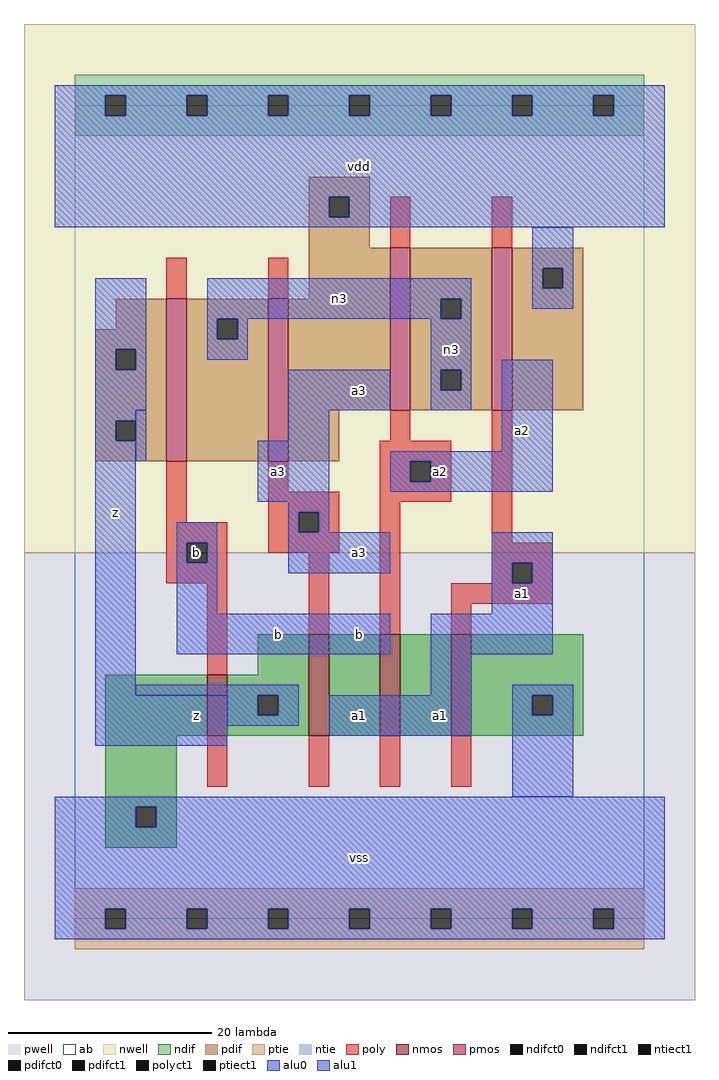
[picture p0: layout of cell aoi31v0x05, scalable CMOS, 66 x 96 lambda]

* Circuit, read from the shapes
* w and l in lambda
.subckt aoi31v0x05 a1 a2 a3 b n3 vdd vss z
M1 z b vss vss nfet w=6 l=2
M2 n1 a3 z vss nfet w=10 l=2
M3 n2 a2 n1 vss nfet w=10 l=2
M4 vss a1 n2 vss nfet w=10 l=2
M5 n3 b z vdd pfet w=16 l=2
M6 vdd a3 n3 vdd pfet w=16 l=2
M7 n3 a2 vdd vdd pfet w=16 l=2
M8 vdd a1 n3 vdd pfet w=16 l=2
.ends

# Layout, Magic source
magic
tech scmos
<< ab >>
rect 0 0 56 80
<< nwell >>
rect -5 36 61 88
<< pwell >>
rect -5 -8 61 36
<< poly >>
rect 31 66 33 71
rect 41 66 43 71
rect 9 61 11 65
rect 19 61 21 65
rect 31 47 33 50
rect 30 45 37 47
rect 9 39 11 45
rect 19 42 21 45
rect 30 43 33 45
rect 35 43 37 45
rect 19 40 26 42
rect 9 37 15 39
rect 9 35 11 37
rect 13 35 15 37
rect 19 38 22 40
rect 24 38 26 40
rect 19 36 26 38
rect 30 41 37 43
rect 9 33 15 35
rect 13 24 15 33
rect 23 28 25 36
rect 30 28 32 41
rect 41 37 43 50
rect 41 35 47 37
rect 41 33 43 35
rect 45 33 47 35
rect 37 31 47 33
rect 37 28 39 31
rect 13 13 15 18
rect 23 13 25 18
rect 30 13 32 18
rect 37 13 39 18
<< ndif >>
rect 18 24 23 28
rect 3 18 13 24
rect 15 22 23 24
rect 15 20 18 22
rect 20 20 23 22
rect 15 18 23 20
rect 25 18 30 28
rect 32 18 37 28
rect 39 22 50 28
rect 39 20 45 22
rect 47 20 50 22
rect 39 18 50 20
rect 3 11 10 18
rect 3 9 6 11
rect 8 9 10 11
rect 3 7 10 9
<< pdif >>
rect 23 71 29 73
rect 23 69 25 71
rect 27 69 29 71
rect 23 66 29 69
rect 23 61 31 66
rect 4 58 9 61
rect 2 56 9 58
rect 2 54 4 56
rect 6 54 9 56
rect 2 49 9 54
rect 2 47 4 49
rect 6 47 9 49
rect 2 45 9 47
rect 11 59 19 61
rect 11 57 14 59
rect 16 57 19 59
rect 11 45 19 57
rect 21 50 31 61
rect 33 61 41 66
rect 33 59 36 61
rect 38 59 41 61
rect 33 54 41 59
rect 33 52 36 54
rect 38 52 41 54
rect 33 50 41 52
rect 43 64 50 66
rect 43 62 46 64
rect 48 62 50 64
rect 43 50 50 62
rect 21 45 26 50
<< alu1 >>
rect -2 81 58 82
rect -2 79 3 81
rect 5 79 11 81
rect 13 79 19 81
rect 21 79 27 81
rect 29 79 35 81
rect 37 79 43 81
rect 45 79 51 81
rect 53 79 58 81
rect -2 71 58 79
rect -2 69 25 71
rect 27 69 58 71
rect -2 68 58 69
rect 2 56 7 63
rect 2 54 4 56
rect 6 54 7 56
rect 2 50 7 54
rect 2 49 6 50
rect 2 47 4 49
rect 2 22 6 47
rect 21 50 31 54
rect 21 47 25 50
rect 18 41 25 47
rect 42 46 47 55
rect 31 45 47 46
rect 31 43 33 45
rect 35 43 47 45
rect 31 42 47 43
rect 21 40 25 41
rect 10 37 14 39
rect 10 35 11 37
rect 13 35 14 37
rect 10 30 14 35
rect 21 38 22 40
rect 24 38 25 40
rect 21 34 31 38
rect 41 35 47 38
rect 41 33 43 35
rect 45 33 47 35
rect 41 30 47 33
rect 10 26 31 30
rect 35 26 47 30
rect 35 22 39 26
rect 2 17 15 22
rect 25 18 39 22
rect -2 11 58 12
rect -2 9 6 11
rect 8 9 58 11
rect -2 1 58 9
rect -2 -1 3 1
rect 5 -1 11 1
rect 13 -1 19 1
rect 21 -1 27 1
rect 29 -1 35 1
rect 37 -1 43 1
rect 45 -1 51 1
rect 53 -1 58 1
rect -2 -2 58 -1
<< ptie >>
rect 0 1 56 3
rect 0 -1 3 1
rect 5 -1 11 1
rect 13 -1 19 1
rect 21 -1 27 1
rect 29 -1 35 1
rect 37 -1 43 1
rect 45 -1 51 1
rect 53 -1 56 1
rect 0 -3 56 -1
<< ntie >>
rect 0 81 56 83
rect 0 79 3 81
rect 5 79 11 81
rect 13 79 19 81
rect 21 79 27 81
rect 29 79 35 81
rect 37 79 43 81
rect 45 79 51 81
rect 53 79 56 81
rect 0 77 56 79
<< nmos >>
rect 13 18 15 24
rect 23 18 25 28
rect 30 18 32 28
rect 37 18 39 28
<< pmos >>
rect 9 45 11 61
rect 19 45 21 61
rect 31 50 33 66
rect 41 50 43 66
<< polyct1 >>
rect 33 43 35 45
rect 11 35 13 37
rect 22 38 24 40
rect 43 33 45 35
<< ndifct0 >>
rect 18 20 20 22
rect 45 20 47 22
<< ndifct1 >>
rect 6 9 8 11
<< ntiect1 >>
rect 3 79 5 81
rect 11 79 13 81
rect 19 79 21 81
rect 27 79 29 81
rect 35 79 37 81
rect 43 79 45 81
rect 51 79 53 81
<< ptiect1 >>
rect 3 -1 5 1
rect 11 -1 13 1
rect 19 -1 21 1
rect 27 -1 29 1
rect 35 -1 37 1
rect 43 -1 45 1
rect 51 -1 53 1
<< pdifct0 >>
rect 14 57 16 59
rect 36 59 38 61
rect 36 52 38 54
rect 46 62 48 64
<< pdifct1 >>
rect 25 69 27 71
rect 4 54 6 56
rect 4 47 6 49
<< alu0 >>
rect 45 64 49 68
rect 13 61 39 63
rect 13 59 36 61
rect 38 59 39 61
rect 45 62 46 64
rect 48 62 49 64
rect 45 60 49 62
rect 13 57 14 59
rect 16 57 17 59
rect 13 55 17 57
rect 35 54 39 59
rect 6 45 7 50
rect 35 52 36 54
rect 38 52 39 54
rect 35 50 39 52
rect 6 22 22 23
rect 15 20 18 22
rect 20 20 22 22
rect 15 19 22 20
rect 43 22 49 23
rect 43 20 45 22
rect 47 20 49 22
rect 43 12 49 20
<< labels >>
rlabel alu0 37 56 37 56 6 n3
rlabel alu0 26 61 26 61 6 n3
rlabel alu1 4 40 4 40 6 z
rlabel alu1 12 20 12 20 6 z
rlabel polyct1 12 36 12 36 6 b
rlabel alu1 20 28 20 28 6 b
rlabel alu1 20 44 20 44 6 a3
rlabel alu1 28 6 28 6 6 vss
rlabel alu1 36 20 36 20 6 a1
rlabel alu1 28 20 28 20 6 a1
rlabel alu1 28 28 28 28 6 b
rlabel alu1 28 36 28 36 6 a3
rlabel alu1 36 44 36 44 6 a2
rlabel alu1 28 52 28 52 6 a3
rlabel alu1 28 74 28 74 6 vdd
rlabel alu1 44 32 44 32 6 a1
rlabel alu1 44 48 44 48 6 a2
<< end >>
